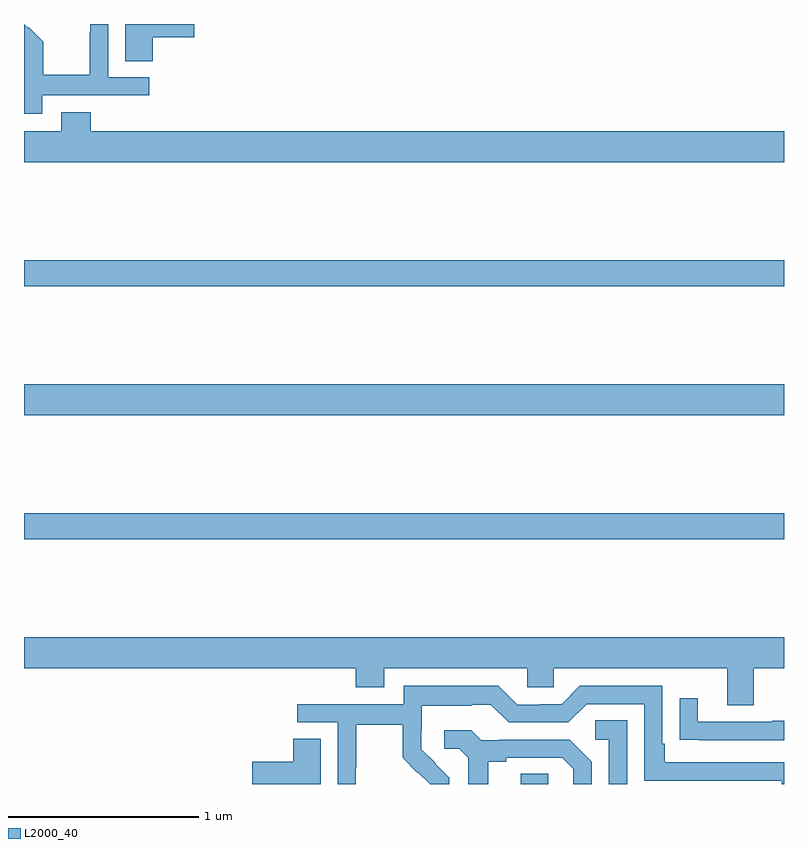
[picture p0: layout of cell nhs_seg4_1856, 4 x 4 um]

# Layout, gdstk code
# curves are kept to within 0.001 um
import gdstk
lib = gdstk.Library(unit=1e-6, precision=1e-09)
def R(c, l, rs):  # rectangles x0, y0, x1, y1
    for r in rs: c.add(gdstk.rectangle(r[:2], r[2:], *l))
def P(c, l, *ps):  # polygons
    for p in ps: c.add(gdstk.Polygon(p, *l))
L2000_40 = (2000, 40)

nhs_seg4_1856 = lib.new_cell('nhs_seg4_1856')
R(nhs_seg4_1856, L2000_40, [(209.615,774.9,209.76,774.953), (207,776.188,211,776.324), (207,776.84,211,777.004), (207,777.52,211,777.656)])
P(nhs_seg4_1856, L2000_40, [(207.677,778.829),(207.895,778.829),(207.895,778.9),(207.533,778.9),(207.533,778.705),(207.677,778.705)],
  [(207.096,778.524),(207.658,778.524),(207.658,778.62),(207.444,778.62),(207.444,778.9),(207.348,778.9),(207.348,778.856),(207.346,778.856),(207.346,778.633),(207.101,778.633),(207.101,778.807),(207.024,778.884),(207.021,778.881),(207.002,778.9),(207,778.9),(207,778.764),(207.002,778.762),(207.002,778.665),(207,778.665),(207,778.427),(207.096,778.427)],
  [(211,778.336),(207.35,778.336),(207.35,778.435),(207.197,778.435),(207.197,778.336),(207,778.336),(207,778.172),(211,778.172)],
  [(210.841,775.508),(211,775.508),(211,775.672),(207,775.672),(207,775.508),(208.745,775.508),(208.745,775.409),(208.897,775.409),(208.897,775.508),(209.649,775.508),(209.649,775.41),(209.787,775.41),(209.787,775.508),(210.701,775.508),(210.701,775.314),(210.841,775.314)],
  [(208.746,774.988),(208.749,774.988),(208.749,775.212),(208.993,775.212),(208.993,775.037),(209.07,774.96),(209.073,774.963),(209.137,774.9),(209.238,774.9),(209.238,774.934),(209.092,775.082),(209.092,775.179),(209.094,775.179),(209.094,775.313),(209.357,775.313),(209.357,775.317),(209.457,775.317),(209.55,775.224),(209.865,775.224),(209.961,775.32),(210.264,775.32),(210.264,774.918),(210.989,774.918),(210.989,774.9),(211,774.9),(211,775.014),(210.373,775.014),(210.373,775.111),(210.36,775.111),(210.36,775.416),(209.925,775.416),(209.829,775.32),(209.711,775.32),(209.711,775.317),(209.595,775.317),(209.495,775.417),(208.998,775.417),(208.998,775.32),(208.437,775.32),(208.437,775.224),(208.65,775.224),(208.65,774.9),(208.746,774.9)],
  [(211,775.232),(210.937,775.232),(210.937,775.227),(210.547,775.227),(210.547,775.351),(210.451,775.351),(210.451,775.132),(210.553,775.132),(210.553,775.131),(211,775.131)],
  [(210.174,775.235),(210.006,775.235),(210.006,775.134),(210.078,775.134),(210.078,774.9),(210.174,774.9)],
  [(209.443,775.016),(209.539,775.016),(209.539,775.038),(209.834,775.038),(209.891,774.981),(209.891,774.9),(209.988,774.9),(209.988,775.018),(209.872,775.134),(209.5,775.134),(209.5,775.131),(209.406,775.131),(209.354,775.183),(209.211,775.183),(209.211,775.086),(209.292,775.086),(209.339,775.039),(209.339,774.9),(209.443,774.9)],
  [(208.561,775.139),(208.418,775.139),(208.418,775.016),(208.2,775.016),(208.2,774.9),(208.561,774.9)])

lib.write_gds('nhs_seg4_1856.gds')
